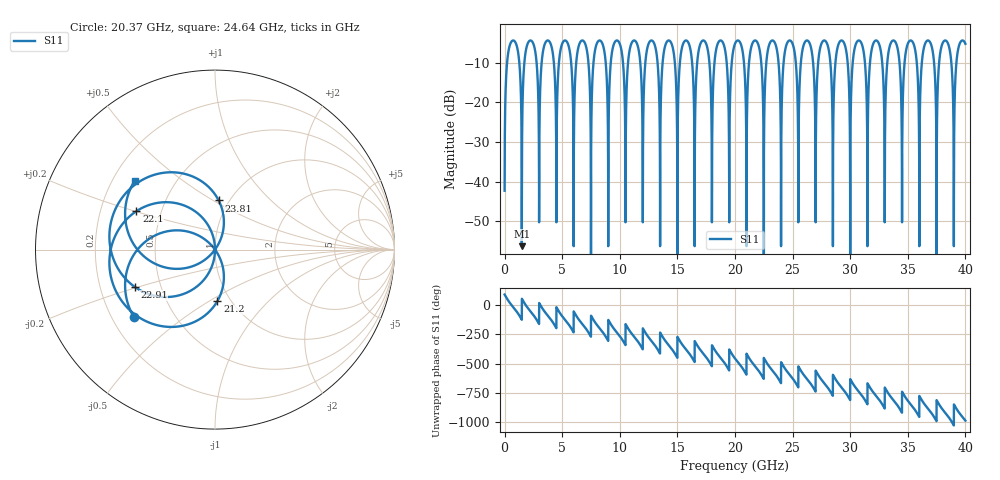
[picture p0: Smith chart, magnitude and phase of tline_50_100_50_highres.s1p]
# Hz S RI R 50
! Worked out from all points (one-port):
!   8192 points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, 4.883 MHz to 40 GHz, reference 50 ohm
!   lowest |S11| = -56.3 dB at 1.499 GHz (marker M1), VSWR 1.00, Z = 49.9 - j0.124 ohm
!   |S11| at or under -10 dB: 14.78 GHz to 15.22 GHz (439.8 MHz wide, 2.93 % of centre); 22.28 GHz to 22.72 GHz (439.8 MHz wide, 1.95 % of centre); 29.78 GHz to 30.22 GHz (439.8 MHz wide, 1.47 % of centre)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
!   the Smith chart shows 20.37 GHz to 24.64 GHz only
!   S11 on the Smith chart (normalised r, x): 20.37 GHz: 0.29, -0.34; 21.2 GHz: 0.87, -0.54; 22.1 GHz: 0.36, +0.20; 22.91 GHz: 0.35, -0.19; 23.81 GHz: 0.89, +0.53; 24.64 GHz: 0.29, +0.34
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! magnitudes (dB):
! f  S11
! 4.883 MHz  -42.3
! 522.5 MHz  -5.1
! 1.499 GHz  -56.3
! 5.005 GHz  -5.2
! 7.5 GHz  -
! 10 GHz  -5.3
! 13.5 GHz  -56.3
! 14.35 GHz  -4.6
! 15 GHz  -42.3
! 15.65 GHz  -4.6
! 16.5 GHz  -56.3
! 20 GHz  -5.2
! 20.37 GHz  -4.6
! 21.2 GHz  -10.8
! 22.1 GHz  -6.2
! 22.5 GHz  -
! 22.91 GHz  -6.1
! 23.81 GHz  -11.2
! 24.64 GHz  -4.6
! 25 GHz  -5.3
! 28.5 GHz  -56.3
! 29.35 GHz  -4.6
! 30 GHz  -42.3
! 30.65 GHz  -4.6
! 31.5 GHz  -56.3
! 35 GHz  -5.2
! 37.5 GHz  -
! 40 GHz  -5.3
